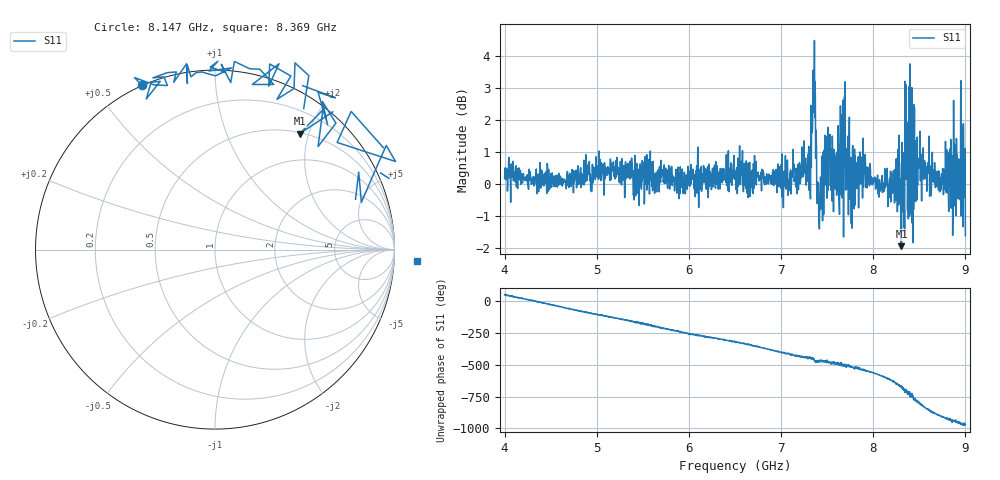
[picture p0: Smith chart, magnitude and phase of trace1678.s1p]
! Created with skrf 1.8.0 (http://scikit-rf.org).
# Hz S RI R 50.0
!freq ReS11 ImS11
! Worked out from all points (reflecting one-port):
!   1601 points, 4 GHz to 9 GHz, reference 50 ohm
!   lowest |S11| = -1.9 dB at 8.306 GHz (marker M1), VSWR 9.03, Z = 25.8 + j92.8 ohm
!   phase of S11 starts at 54 deg and turns -1024 deg over the sweep
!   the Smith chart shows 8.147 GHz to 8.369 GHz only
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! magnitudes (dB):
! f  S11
! 4 GHz  0.2
! 4.625 GHz  -0.1
! 5.25 GHz  0.0
! 5.875 GHz  -0.2
! 6.5 GHz  0.1
! 7.125 GHz  0.4
! 7.241 GHz  0.2
! 7.297 GHz  0.2
! 7.328 GHz  0.5
! 7.347 GHz  3.5
! 7.356 GHz  3.4
! 7.412 GHz  -1.2
! 7.509 GHz  0.4
! 7.609 GHz  1.0
! 7.669 GHz  1.1
! 7.75 GHz  -0.3
! 7.769 GHz  -0.4
! 7.891 GHz  0.1
! 8.084 GHz  -0.1
! 8.306 GHz  -1.9
! 8.316 GHz  0.8
! 8.334 GHz  -1.3
! 8.375 GHz  0.0
! 8.406 GHz  1.2
! 8.466 GHz  0.0
! 8.722 GHz  -0.2
! 8.972 GHz  0.5
! 9 GHz  -1.6
